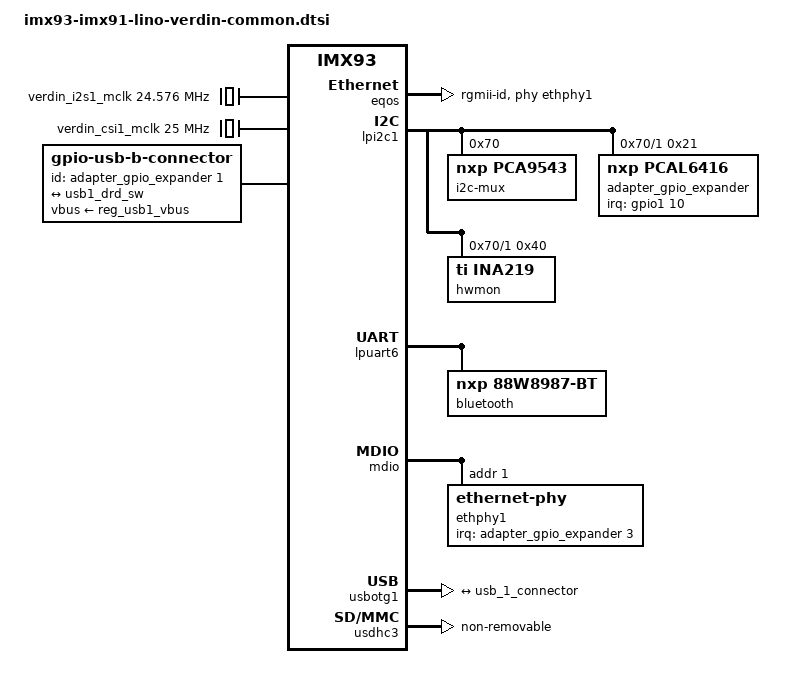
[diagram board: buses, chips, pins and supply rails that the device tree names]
// SPDX-License-Identifier: GPL-2.0-only OR MIT
/*
 * Copyright (c) Toradex
 *
 * Lino iMX93/iMX91 SoM on Lino-Verdin Adapter
 *
 * https://www.toradex.com/computer-on-modules/verdin-arm-family
 * https://www.toradex.com/computer-on-modules/lino-arm-family/nxp-imx93
 * https://www.toradex.com/computer-on-modules/lino-arm-family/nxp-imx91
 */

#include <dt-bindings/interrupt-controller/irq.h>
#include <dt-bindings/net/ti-dp83867.h>

/ {
	verdin_i2s1_mclk: clock-24576000 {
		compatible = "fixed-clock";
		#clock-cells = <0>;
		clock-frequency = <24576000>;
	};

	verdin_csi1_mclk: clock-25000000 {
		compatible = "fixed-clock";
		#clock-cells = <0>;
		clock-frequency = <25000000>;
	};

	connector {
		compatible = "gpio-usb-b-connector", "usb-b-connector";
		id-gpios = <&adapter_gpio_expander 1 GPIO_ACTIVE_HIGH>;
		self-powered;
		type = "micro";
		vbus-supply = <&reg_usb1_vbus>;

		port {
			usb_1_connector: endpoint {
				remote-endpoint = <&usb1_drd_sw>;
			};
		};
	};

	verdin_gpio_keys: gpio-keys {
		compatible = "gpio-keys";

		status = "disabled";

		key-wakeup {
			debounce-interval = <10>;
			/* Verdin CTRL_WAKE1_MICO# (SODIMM 252) */
			gpios = <&adapter_gpio_expander 2 GPIO_ACTIVE_LOW>;
			label = "Wake-Up";
			wakeup-source;
			linux,code = <KEY_WAKEUP>;
		};
	};
};

/* Lino ETH_1 */
&eqos {
	phy-handle = <&ethphy1>;
	phy-mode = "rgmii-id";
};

/* Lino I2C_1 */
&lpi2c1 {
	status = "okay";

	i2c-mux@70 {
		compatible = "nxp,pca9543";
		reg = <0x70>;
		#address-cells = <1>;
		#size-cells = <0>;

		verdin_i2c_1: i2c@0 {
			reg = <0>;
			#address-cells = <1>;
			#size-cells = <0>;

			status = "disabled";
		};

		adapter_i2c: i2c@1 {
			reg = <1>;
			#address-cells = <1>;
			#size-cells = <0>;

			adapter_gpio_expander: gpio@21 {
				compatible = "nxp,pcal6416";
				reg = <0x21>;
				pinctrl-names = "default";
				pinctrl-0 = <&pinctrl_gpio_11>;
				#interrupt-cells = <2>;
				interrupt-controller;
				interrupt-parent = <&gpio1>;
				interrupts = <10 IRQ_TYPE_LEVEL_LOW>;
				#gpio-cells = <2>;
				gpio-controller;
				gpio-line-names =
					"SODIMM_244", /* Verdin PCIE_1_RESET#    */
					"SODIMM_161", /* Verdin USB_1_ID         */
					"SODIMM_252", /* Verdin CTRL_WAKE1_MICO# */
					"ETH_1_INT#",
					"CTRL_EN_WIFI",
					"",
					"",
					"",
					"SODIMM_42", /* Verdin I2S_2_BCLK  */
					"SODIMM_48", /* Verdin I2S_2_D_IN  */
					"SODIMM_46", /* Verdin I2S_2_D_OUT */
					"SODIMM_44", /* Verdin I2S_2_SYNC  */
					"SODIMM_64", /* Verdin QSPI_1_CS2# */
					"SODIMM_66", /* Verdin QSPI_1_DQS  */
					"SODIMM_60", /* Verdin QSPI_1_IO2  */
					"SODIMM_62"; /* Verdin QSPI_1_IO3  */

				verdin_pcie_1_reset_hog: pcie-1-reset-hog {
					gpio-hog;
					/* Verdin PCIE_1_RESET# (SODIMM 244) */
					gpios = <0 GPIO_ACTIVE_LOW>;
					line-name = "PCIE_1_RESET#";
					output-low;

					status = "disabled";
				};
			};

			/* Current measurement into module VCC */
			hwmon@40 {
				compatible = "ti,ina219";
				reg = <0x40>;
				shunt-resistor = <10000>;
			};
		};
	};
};

/* Lino UART_1 */
&lpuart6 {
	status = "okay";

	bluetooth {
		compatible = "nxp,88w8987-bt";
		fw-init-baudrate = <3000000>;
	};
};

/* Lino Ethernet MDIO */
&mdio {
	status = "okay";

	ethphy1: ethernet-phy@1 {
		reg = <1>;
		interrupt-parent = <&adapter_gpio_expander>;
		interrupts = <3 IRQ_TYPE_EDGE_FALLING>;
		ti,rx-internal-delay = <DP83867_RGMIIDCTL_2_00_NS>;
		ti,tx-internal-delay = <DP83867_RGMIIDCTL_2_00_NS>;
	};
};

/* Lino USB_1 */
&usbotg1 {
	port {
		usb1_drd_sw: endpoint {
			remote-endpoint = <&usb_1_connector>;
		};
	};
};

/* Lino SD_2 */
&usdhc3 {
	keep-power-in-suspend;
	non-removable;

	status = "okay";
};
